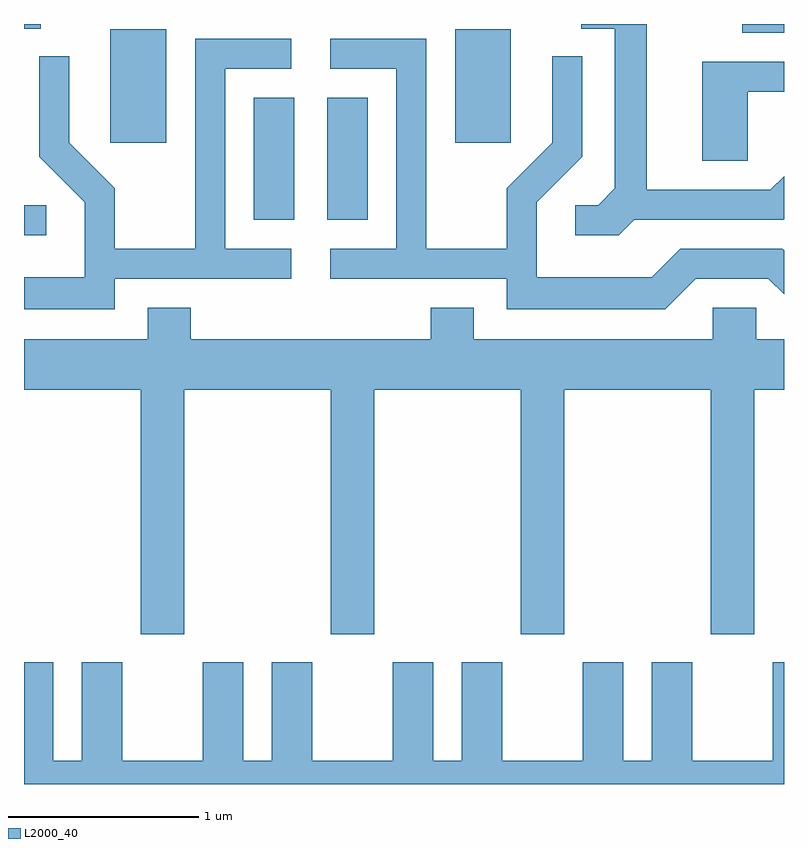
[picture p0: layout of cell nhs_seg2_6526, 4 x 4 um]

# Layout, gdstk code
import gdstk
lib = gdstk.Library(unit=1e-6, precision=1e-09)
def R(c, l, rs):  # rectangles x0, y0, x1, y1
    for r in rs: c.add(gdstk.rectangle(r[:2], r[2:], *l))
def P(c, l, *ps):  # polygons
    for p in ps: c.add(gdstk.Polygon(p, *l))
L2000_40 = (2000, 40)

nhs_seg2_6526 = lib.new_cell('nhs_seg2_6526')
R(nhs_seg2_6526, L2000_40, [(377.611,1044.691,377.728,1044.849), (378.821,1044.771,379.034,1045.414), (379.206,1044.771,379.419,1045.414), (378.066,1045.176,378.359,1045.774), (379.881,1045.176,380.174,1045.774), (381.391,1045.756,381.611,1045.802), (377.611,1045.776,377.698,1045.802)])
P(nhs_seg2_6526, L2000_40, [(380.822,1044.771),(381.607,1044.771),(381.611,1044.775),(381.611,1045.002),(381.539,1044.929),(380.889,1044.929),(380.889,1045.802),(380.543,1045.802),(380.543,1045.776),(380.721,1045.776),(380.721,1044.937),(380.634,1044.849),(380.513,1044.849),(380.513,1044.691),(380.742,1044.691)],
  [(378.089,1044.461),(379.018,1044.461),(379.018,1044.619),(378.669,1044.619),(378.669,1045.566),(379.018,1045.566),(379.018,1045.724),(378.511,1045.724),(378.511,1044.619),(378.089,1044.619),(378.089,1044.937),(377.849,1045.177),(377.849,1045.632),(377.691,1045.632),(377.691,1045.103),(377.931,1044.863),(377.931,1044.469),(377.611,1044.469),(377.611,1044.301),(378.089,1044.301)],
  [(381.147,1044.461),(381.529,1044.461),(381.611,1044.379),(381.611,1044.61),(381.602,1044.619),(381.064,1044.619),(380.914,1044.469),(380.309,1044.469),(380.309,1044.863),(380.549,1045.103),(380.549,1045.632),(380.391,1045.632),(380.391,1045.177),(380.151,1044.937),(380.151,1044.619),(379.729,1044.619),(379.729,1045.724),(379.223,1045.724),(379.223,1045.566),(379.571,1045.566),(379.571,1044.619),(379.223,1044.619),(379.223,1044.461),(380.151,1044.461),(380.151,1044.301),(380.987,1044.301)],
  [(381.419,1045.446),(381.611,1045.446),(381.611,1045.604),(381.181,1045.604),(381.181,1045.081),(381.419,1045.081)],
  [(378.454,1043.876),(379.226,1043.876),(379.226,1042.591),(379.454,1042.591),(379.454,1043.876),(380.226,1043.876),(380.226,1042.591),(380.454,1042.591),(380.454,1043.876),(381.226,1043.876),(381.226,1042.591),(381.454,1042.591),(381.454,1043.876),(381.611,1043.876),(381.611,1044.144),(381.464,1044.144),(381.464,1044.309),(381.236,1044.309),(381.236,1044.144),(379.979,1044.144),(379.979,1044.309),(379.751,1044.309),(379.751,1044.144),(378.489,1044.144),(378.489,1044.309),(378.261,1044.309),(378.261,1044.144),(377.611,1044.144),(377.611,1043.876),(378.226,1043.876),(378.226,1042.591),(378.454,1042.591)],
  [(381.611,1042.444),(381.551,1042.444),(381.551,1041.924),(381.129,1041.924),(381.129,1042.444),(380.916,1042.444),(380.916,1041.924),(380.764,1041.924),(380.764,1042.444),(380.551,1042.444),(380.551,1041.924),(380.129,1041.924),(380.129,1042.444),(379.916,1042.444),(379.916,1041.924),(379.764,1041.924),(379.764,1042.444),(379.551,1042.444),(379.551,1041.924),(379.129,1041.924),(379.129,1042.444),(378.916,1042.444),(378.916,1041.924),(378.764,1041.924),(378.764,1042.444),(378.551,1042.444),(378.551,1041.924),(378.129,1041.924),(378.129,1042.444),(377.916,1042.444),(377.916,1041.924),(377.764,1041.924),(377.764,1042.444),(377.611,1042.444),(377.611,1041.802),(381.611,1041.802)])

lib.write_gds('nhs_seg2_6526.gds')
